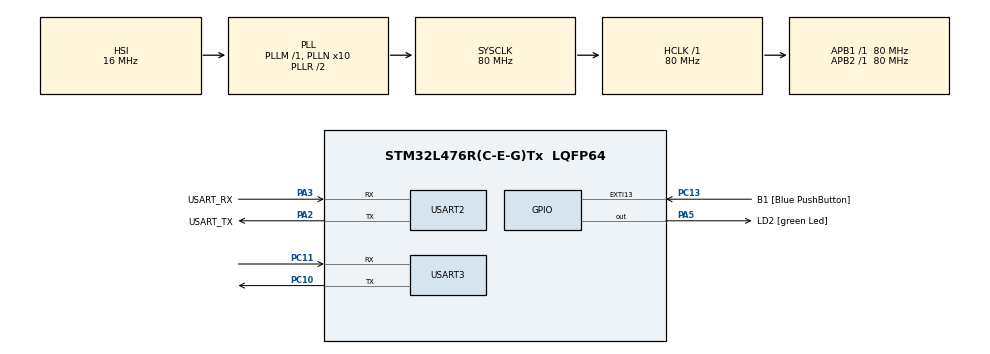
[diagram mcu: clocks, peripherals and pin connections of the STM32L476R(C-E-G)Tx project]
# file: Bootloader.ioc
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CRC.InputDataFormat=CRC_INPUTDATA_FORMAT_WORDS
Mcu.Family=STM32L4
Mcu.Name=STM32L476R(C-E-G)Tx
Mcu.Package=LQFP64
NVIC.PriorityGroup=NVIC_PRIORITYGROUP_4
PA13\ (JTMS-SWDIO).GPIO_Label=TMS
PA13\ (JTMS-SWDIO).Mode=Serial_Wire
PA13\ (JTMS-SWDIO).Signal=SYS_JTMS-SWDIO
PA14\ (JTCK-SWCLK).GPIO_Label=TCK
PA14\ (JTCK-SWCLK).Mode=Serial_Wire
PA14\ (JTCK-SWCLK).Signal=SYS_JTCK-SWCLK
PA2.GPIO_Label=USART_TX
PA2.GPIO_Mode=GPIO_MODE_AF_PP
PA2.GPIO_PuPd=GPIO_NOPULL
PA2.GPIO_Speed=GPIO_SPEED_FREQ_VERY_HIGH
PA2.Mode=Asynchronous
PA2.Signal=USART2_TX
PA3.GPIO_Label=USART_RX
PA3.GPIO_Mode=GPIO_MODE_AF_PP
PA3.GPIO_PuPd=GPIO_NOPULL
PA3.GPIO_Speed=GPIO_SPEED_FREQ_VERY_HIGH
PA3.Mode=Asynchronous
PA3.Signal=USART2_RX
PA5.GPIO_Label=LD2 [green Led]
PA5.GPIO_ModeDefaultOutputPP=GPIO_MODE_OUTPUT_PP
PA5.GPIO_PuPd=GPIO_NOPULL
PA5.GPIO_Speed=GPIO_SPEED_FREQ_LOW
PA5.Signal=GPIO_Output
PB3\ (JTDO-TRACESWO).GPIO_Label=SWO
PB3\ (JTDO-TRACESWO).Signal=SYS_JTDO-SWO
PC10.Mode=Asynchronous
PC10.Signal=USART3_TX
PC11.Mode=Asynchronous
PC11.Signal=USART3_RX
PC13.GPIO_Label=B1 [Blue PushButton]
PC13.GPIO_ModeDefaultEXTI=GPIO_MODE_IT_FALLING
PC13.GPIO_PuPd=GPIO_NOPULL
PC13.Signal=GPXTI13
PC14-OSC32_IN\ (PC14).Mode=LSE-External-Oscillator
PC14-OSC32_IN\ (PC14).Signal=RCC_OSC32_IN
PC15-OSC32_OUT\ (PC15).Mode=LSE-External-Oscillator
PC15-OSC32_OUT\ (PC15).Signal=RCC_OSC32_OUT
PH0-OSC_IN\ (PH0).Signal=RCC_OSC_IN
PH1-OSC_OUT\ (PH1).Signal=RCC_OSC_OUT
ProjectManager.HeapSize=0x200
ProjectManager.StackSize=0x400
ProjectManager.TargetToolchain=STM32CubeIDE
RCC.ADCFreq_Value=64000000
RCC.AHBFreq_Value=80000000
RCC.APB1Freq_Value=80000000
RCC.APB1TimFreq_Value=80000000
RCC.APB2Freq_Value=80000000
RCC.APB2TimFreq_Value=80000000
RCC.CortexFreq_Value=80000000
RCC.HCLKFreq_Value=80000000
RCC.HSE_VALUE=8000000
RCC.HSI_VALUE=16000000
RCC.MSI_VALUE=4000000
RCC.PLLN=10
RCC.PLLSourceVirtual=RCC_PLLSOURCE_HSI
RCC.PREFETCH_ENABLE=1
RCC.SYSCLKFreq_VALUE=80000000
RCC.SYSCLKSource=RCC_SYSCLKSOURCE_PLLCLK
RCC.USBFreq_Value=64000000
RCC.VCOOutputFreq_Value=160000000
USART2.VirtualMode-Asynchronous=VM_ASYNC
USART3.VirtualMode-Asynchronous=VM_ASYNC
VP_CRC_VS_CRC.Mode=CRC_Activate
board=NUCLEO-L476RG

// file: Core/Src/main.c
/* USER CODE BEGIN Header */
/**
  ******************************************************************************
  * @file           : main.c
  * @brief          : Main program body
  ******************************************************************************
  * @attention
  *
  * Copyright (c) 2024 STMicroelectronics.
  * All rights reserved.
  *
  * This software is licensed under terms that can be found in the LICENSE file
  * in the root directory of this software component.
  * If no LICENSE file comes with this software, it is provided AS-IS.
  *
  ******************************************************************************
  */
/* USER CODE END Header */
#include "main.h"

/* USER CODE BEGIN Includes */
#include <stdarg.h>
#include <string.h>
#include <stdint.h>
#include <stdio.h>

/* USER CODE END Includes */

/* USER CODE BEGIN PD */
//enable this line to get debug messages over debug uart
#define BL_DEBUG_MSG_EN

#define D_UART &huart3
#define C_UART &huart2

#define BL_RX_LEN 200

/* USER CODE END PD */

CRC_HandleTypeDef hcrc;

UART_HandleTypeDef huart2;
UART_HandleTypeDef huart3;

uint8_t supported_commands[] = {
                               BL_GET_VER ,
                               BL_GET_HELP,
                               BL_GET_CID,
                               BL_GET_RDP_STATUS,
                               BL_GO_TO_ADDR,
                               BL_FLASH_ERASE,
                               BL_MEM_WRITE,
                               BL_READ_SECTOR_P_STATUS} ;

void SystemClock_Config(void);
static void MX_GPIO_Init(void);
static void MX_USART2_UART_Init(void);
static void MX_CRC_Init(void);
static void MX_USART3_UART_Init(void);
void printmsg(char *format,...);

/* USER CODE BEGIN 0 */
char userdata[] = "Hello from Bootloader! \r\n";

uint8_t bl_rx_buffer[BL_RX_LEN];

/* USER CODE END 0 */

int main(void)
{

  /* MCU Configuration--------------------------------------------------------*/

  /* Reset of all peripherals, Initializes the Flash interface and the Systick. */
  HAL_Init();

  /* Configure the system clock */
  SystemClock_Config();

  /* Initialize all configured peripherals */
  MX_GPIO_Init();
  MX_USART2_UART_Init();
  MX_CRC_Init();
  MX_USART3_UART_Init();
  /* USER CODE BEGIN 2 */
  /* Lets check whether button is pressed or not, if not pressed jump to user application */
	if ( HAL_GPIO_ReadPin(B1_GPIO_Port,B1_Pin) == GPIO_PIN_RESET )
	{
	  printmsg("BL_DEBUG_MSG:Button is pressed .. going to BL mode\n\r");

	  //we should continue in bootloader mode
	  bootloader_uart_read_data();

	}
	else
	{
	  printmsg("BL_DEBUG_MSG:Button is not pressed .. executing user app\n");

		//jump to user application
		bootloader_jump_to_user_app();

	}

  /* USER CODE END 2 */

  /* Infinite loop */
  while (1)
  {

    /* USER CODE BEGIN 3 */
//	  HAL_UART_Transmit(&huart2, (uint8_t*) userdata, sizeof(userdata), HAL_MAX_DELAY);
//	  uint32_t current_tick = HAL_GetTick();
//	  while(HAL_GetTick() <= current_tick + 1000);

  }
  /* USER CODE END 3 */
}

void bootloader_uart_read_data(void)
{
	uint8_t rcv_len=0;

	while(1)
	{
		memset(bl_rx_buffer,0,200);
		//here we will read and decode the commands coming from host
		//first read only one byte from the host , which is the "length" field of the command packet
		HAL_UART_Receive(C_UART,bl_rx_buffer,1,HAL_MAX_DELAY);
		rcv_len= bl_rx_buffer[0];
		HAL_UART_Receive(C_UART,&bl_rx_buffer[1],rcv_len,HAL_MAX_DELAY);
		switch(bl_rx_buffer[1])
		{
			case BL_GET_VER:
				bootloader_handle_getver_cmd(bl_rx_buffer);
				break;
			case BL_GET_HELP:
				bootloader_handle_gethelp_cmd(bl_rx_buffer);
				break;
			case BL_GET_CID:
				bootloader_handle_getcid_cmd(bl_rx_buffer);
				break;
			case BL_GET_RDP_STATUS:
				bootloader_handle_getrdp_cmd(bl_rx_buffer);
				break;
			case BL_GO_TO_ADDR:
				bootloader_handle_go_cmd(bl_rx_buffer);
				break;
			case BL_FLASH_ERASE:
				bootloader_handle_flash_erase_cmd(bl_rx_buffer);
				break;
			case BL_MEM_WRITE:
				bootloader_handle_mem_write_cmd(bl_rx_buffer);
				break;
			case BL_EN_RW_PROTECT:
				bootloader_handle_en_rw_protect(bl_rx_buffer);
				break;
			case BL_MEM_READ:
				bootloader_handle_mem_read(bl_rx_buffer);
				break;
			case BL_READ_SECTOR_P_STATUS:
				bootloader_handle_read_sector_protection_status(bl_rx_buffer);
				break;
			case BL_OTP_READ:
				bootloader_handle_read_otp(bl_rx_buffer);
				break;
			 default:
				printmsg("BL_DEBUG_MSG:Invalid command code received from host \n");
				break;
		}
	}
}

/*code to jump to user application
 *Here we are assuming FLASH_SECTOR2_BASE_ADDRESS
 *is where the user application is stored
 */
void bootloader_jump_to_user_app(void)
{
	  //just a function pointer to hold the address of the reset handler of the user app.
	    void (*app_reset_handler)(void);

	    printmsg("BL_DEBUG_MSG:bootloader_jump_to_user_app\n");

	    // 1. configure the MSP by reading the value from the base address of the sector 2
	    uint32_t msp_value = *(volatile uint32_t *)FLASH_SECTOR2_BASE_ADDRESS;
	    printmsg("BL_DEBUG_MSG:MSP value : %#x\n",msp_value);

	    //This function comes from CMSIS.
	    __set_MSP(msp_value);

	    //SCB->VTOR = FLASH_SECTOR1_BASE_ADDRESS;

	    /* 2. Now fetch the reset handler address of the user application
	     * from the location FLASH_SECTOR2_BASE_ADDRESS+4
	     */
	    uint32_t resethandler_address = *(volatile uint32_t *) (FLASH_SECTOR2_BASE_ADDRESS + 4);

	    app_reset_handler = (void*) resethandler_address;

	    printmsg("BL_DEBUG_MSG: app reset handler addr : %#x\n",app_reset_handler);

	    //3. jump to reset handler of the user application
	    app_reset_handler();
}

/* prints formatted string to console over UART */
void printmsg(char *format,...)
{
#ifdef BL_DEBUG_MSG_EN
	char str[80];

	/*Extract the the argument list using VA apis */
	va_list args;
	va_start(args, format);
	vsprintf(str, format,args);
	HAL_UART_Transmit(D_UART,(uint8_t *)str, strlen(str),HAL_MAX_DELAY);
	va_end(args);
#endif
}

void SystemClock_Config(void)
{
  RCC_OscInitTypeDef RCC_OscInitStruct = {0};
  RCC_ClkInitTypeDef RCC_ClkInitStruct = {0};

  /** Configure the main internal regulator output voltage
  */
  if (HAL_PWREx_ControlVoltageScaling(PWR_REGULATOR_VOLTAGE_SCALE1) != HAL_OK)
  {
    Error_Handler();
  }

  /** Initializes the RCC Oscillators according to the specified parameters
  * in the RCC_OscInitTypeDef structure.
  */
  RCC_OscInitStruct.OscillatorType = RCC_OSCILLATORTYPE_HSI;
  RCC_OscInitStruct.HSIState = RCC_HSI_ON;
  RCC_OscInitStruct.HSICalibrationValue = RCC_HSICALIBRATION_DEFAULT;
  RCC_OscInitStruct.PLL.PLLState = RCC_PLL_ON;
  RCC_OscInitStruct.PLL.PLLSource = RCC_PLLSOURCE_HSI;
  RCC_OscInitStruct.PLL.PLLM = 1;
  RCC_OscInitStruct.PLL.PLLN = 10;
  RCC_OscInitStruct.PLL.PLLP = RCC_PLLP_DIV7;
  RCC_OscInitStruct.PLL.PLLQ = RCC_PLLQ_DIV2;
  RCC_OscInitStruct.PLL.PLLR = RCC_PLLR_DIV2;
  if (HAL_RCC_OscConfig(&RCC_OscInitStruct) != HAL_OK)
  {
    Error_Handler();
  }

  /** Initializes the CPU, AHB and APB buses clocks
  */
  RCC_ClkInitStruct.ClockType = RCC_CLOCKTYPE_HCLK|RCC_CLOCKTYPE_SYSCLK
                              |RCC_CLOCKTYPE_PCLK1|RCC_CLOCKTYPE_PCLK2;
  RCC_ClkInitStruct.SYSCLKSource = RCC_SYSCLKSOURCE_PLLCLK;
  RCC_ClkInitStruct.AHBCLKDivider = RCC_SYSCLK_DIV1;
  RCC_ClkInitStruct.APB1CLKDivider = RCC_HCLK_DIV1;
  RCC_ClkInitStruct.APB2CLKDivider = RCC_HCLK_DIV1;

  if (HAL_RCC_ClockConfig(&RCC_ClkInitStruct, FLASH_LATENCY_4) != HAL_OK)
  {
    Error_Handler();
  }
}

static void MX_CRC_Init(void)
{

  hcrc.Instance = CRC;
  hcrc.Init.DefaultPolynomialUse = DEFAULT_POLYNOMIAL_ENABLE;
  hcrc.Init.DefaultInitValueUse = DEFAULT_INIT_VALUE_ENABLE;
  hcrc.Init.InputDataInversionMode = CRC_INPUTDATA_INVERSION_NONE;
  hcrc.Init.OutputDataInversionMode = CRC_OUTPUTDATA_INVERSION_DISABLE;
  hcrc.InputDataFormat = CRC_INPUTDATA_FORMAT_BYTES;
  if (HAL_CRC_Init(&hcrc) != HAL_OK)
  {
    Error_Handler();
  }

}

static void MX_USART2_UART_Init(void)
{

  huart2.Instance = USART2;
  huart2.Init.BaudRate = 115200;
  huart2.Init.WordLength = UART_WORDLENGTH_8B;
  huart2.Init.StopBits = UART_STOPBITS_1;
  huart2.Init.Parity = UART_PARITY_NONE;
  huart2.Init.Mode = UART_MODE_TX_RX;
  huart2.Init.HwFlowCtl = UART_HWCONTROL_NONE;
  huart2.Init.OverSampling = UART_OVERSAMPLING_16;
  huart2.Init.OneBitSampling = UART_ONE_BIT_SAMPLE_DISABLE;
  huart2.AdvancedInit.AdvFeatureInit = UART_ADVFEATURE_NO_INIT;
  if (HAL_UART_Init(&huart2) != HAL_OK)
  {
    Error_Handler();
  }

}

static void MX_USART3_UART_Init(void)
{

  huart3.Instance = USART3;
  huart3.Init.BaudRate = 115200;
  huart3.Init.WordLength = UART_WORDLENGTH_8B;
  huart3.Init.StopBits = UART_STOPBITS_1;
  huart3.Init.Parity = UART_PARITY_NONE;
  huart3.Init.Mode = UART_MODE_TX_RX;
  huart3.Init.HwFlowCtl = UART_HWCONTROL_NONE;
  huart3.Init.OverSampling = UART_OVERSAMPLING_16;
  huart3.Init.OneBitSampling = UART_ONE_BIT_SAMPLE_DISABLE;
  huart3.AdvancedInit.AdvFeatureInit = UART_ADVFEATURE_NO_INIT;
  if (HAL_UART_Init(&huart3) != HAL_OK)
  {
    Error_Handler();
  }

}

static void MX_GPIO_Init(void)
{
  GPIO_InitTypeDef GPIO_InitStruct = {0};

  /* GPIO Ports Clock Enable */
  __HAL_RCC_GPIOC_CLK_ENABLE();
  __HAL_RCC_GPIOH_CLK_ENABLE();
  __HAL_RCC_GPIOA_CLK_ENABLE();
  __HAL_RCC_GPIOB_CLK_ENABLE();

  /*Configure GPIO pin Output Level */
  HAL_GPIO_WritePin(LD2_GPIO_Port, LD2_Pin, GPIO_PIN_RESET);

  /*Configure GPIO pin : B1_Pin */
  GPIO_InitStruct.Pin = B1_Pin;
  GPIO_InitStruct.Mode = GPIO_MODE_IT_FALLING;
  GPIO_InitStruct.Pull = GPIO_NOPULL;
  HAL_GPIO_Init(B1_GPIO_Port, &GPIO_InitStruct);

  /*Configure GPIO pin : LD2_Pin */
  GPIO_InitStruct.Pin = LD2_Pin;
  GPIO_InitStruct.Mode = GPIO_MODE_OUTPUT_PP;
  GPIO_InitStruct.Pull = GPIO_NOPULL;
  GPIO_InitStruct.Speed = GPIO_SPEED_FREQ_LOW;
  HAL_GPIO_Init(LD2_GPIO_Port, &GPIO_InitStruct);

}

void Error_Handler(void)
{
  __disable_irq();
  while (1)
  {
  }
}

/**************Implementation of Boot-loader Command Handle functions *********/

/*Helper function to handle BL_GET_VER command */
void bootloader_handle_getver_cmd(uint8_t *bl_rx_buffer)
{
	   uint8_t bl_version;

	    // 1) verify the checksum
	      printmsg("BL_DEBUG_MSG:bootloader_handle_getver_cmd\n");

		 //Total length of the command packet
		  uint32_t command_packet_len = bl_rx_buffer[0]+1 ;

		  //extract the CRC32 sent by the Host
		  uint32_t host_crc = *((uint32_t * ) (bl_rx_buffer+command_packet_len - 4) ) ;

	    if (! bootloader_verify_crc(&bl_rx_buffer[0],command_packet_len-4,host_crc))
	    {
	        printmsg("BL_DEBUG_MSG:checksum success !!\n");
	        // checksum is correct..
	        bootloader_send_ack(bl_rx_buffer[0],1);
	        bl_version=get_bootloader_version();
	        printmsg("BL_DEBUG_MSG:BL_VER : %d %#x\n",bl_version,bl_version);
	        bootloader_uart_write_data(&bl_version,1);

	    }else
	    {
	        printmsg("BL_DEBUG_MSG:checksum fail !!\n");
	        //checksum is wrong send nack
	        bootloader_send_nack();
	    }

}

/*Helper function to handle BL_GET_HELP command
 * Bootloader sends out All supported Command codes
 */
void bootloader_handle_gethelp_cmd(uint8_t *pBuffer)
{
	printmsg("BL_DEBUG_MSG:bootloader_handle_gethelp_cmd\n");

	//Total length of the command packet
	uint32_t command_packet_len = bl_rx_buffer[0]+1 ;

	//extract the CRC32 sent by the Host
	uint32_t host_crc = *((uint32_t * ) (bl_rx_buffer+command_packet_len - 4) ) ;

	if (! bootloader_verify_crc(&bl_rx_buffer[0],command_packet_len-4,host_crc))
	{
		printmsg("BL_DEBUG_MSG:checksum success !!\n");
		bootloader_send_ack(pBuffer[0],sizeof(supported_commands));
		bootloader_uart_write_data(supported_commands,sizeof(supported_commands) );

	}else
	{
		printmsg("BL_DEBUG_MSG:checksum fail !!\n");
		bootloader_send_nack();
	}
}

/*Helper function to handle BL_GET_CID command */
void bootloader_handle_getcid_cmd(uint8_t *pBuffer)
{
	uint16_t bl_cid_num = 0;
	printmsg("BL_DEBUG_MSG:bootloader_handle_getcid_cmd\n");

	//Total length of the command packet
	uint32_t command_packet_len = bl_rx_buffer[0]+1 ;

	//extract the CRC32 sent by the Host
	uint32_t host_crc = *((uint32_t * ) (bl_rx_buffer+command_packet_len - 4) ) ;

	if (! bootloader_verify_crc(&bl_rx_buffer[0],command_packet_len-4,host_crc))
	{
		printmsg("BL_DEBUG_MSG:checksum success !!\n");
		bootloader_send_ack(pBuffer[0],2);
		bl_cid_num = get_mcu_chip_id();
		printmsg("BL_DEBUG_MSG:MCU id : %d %#x !!\n",bl_cid_num, bl_cid_num);
		bootloader_uart_write_data((uint8_t *)&bl_cid_num,2);

	}else
	{
		printmsg("BL_DEBUG_MSG:checksum fail !!\n");
		bootloader_send_nack();
	}

}

/*Helper function to handle BL_GET_RDP_STATUS command */
void bootloader_handle_getrdp_cmd(uint8_t *pBuffer)
{
    uint8_t rdp_level = 0x00;
    printmsg("BL_DEBUG_MSG:bootloader_handle_getrdp_cmd\n");

    //Total length of the command packet
	uint32_t command_packet_len = bl_rx_buffer[0]+1 ;

	//extract the CRC32 sent by the Host
	uint32_t host_crc = *((uint32_t * ) (bl_rx_buffer+command_packet_len - 4) ) ;

	if (! bootloader_verify_crc(&bl_rx_buffer[0],command_packet_len-4,host_crc))
	{
        printmsg("BL_DEBUG_MSG:checksum success !!\n");
        bootloader_send_ack(pBuffer[0],1);
        rdp_level = get_flash_rdp_level();
        printmsg("BL_DEBUG_MSG:RDP level: %d %#x\n",rdp_level,rdp_level);
        bootloader_uart_write_data(&rdp_level,1);

	}else
	{
        printmsg("BL_DEBUG_MSG:checksum fail !!\n");
        bootloader_send_nack();
	}
}

/*Helper function to handle BL_GO_TO_ADDR command */
void bootloader_handle_go_cmd(uint8_t *pBuffer)
{
	uint32_t go_address=0;
	uint8_t addr_valid = ADDR_VALID;
	uint8_t addr_invalid = ADDR_INVALID;

	printmsg("BL_DEBUG_MSG:bootloader_handle_go_cmd\n");

	//Total length of the command packet
	uint32_t command_packet_len = bl_rx_buffer[0]+1 ;

	//extract the CRC32 sent by the Host
	uint32_t host_crc = *((uint32_t * ) (bl_rx_buffer+command_packet_len - 4) ) ;

	if (! bootloader_verify_crc(&bl_rx_buffer[0],command_packet_len-4,host_crc))
	{
		printmsg("BL_DEBUG_MSG:checksum success !!\n");

		bootloader_send_ack(pBuffer[0],1);

		//extract the go address
		go_address = *((uint32_t *)&pBuffer[2] );
		printmsg("BL_DEBUG_MSG:GO addr: %#x\n",go_address);

		if( verify_address(go_address) == ADDR_VALID )
		{
			//tell host that address is fine
			bootloader_uart_write_data(&addr_valid,1);

			/*jump to "go" address.
			we dont care what is being done there.
			host must ensure that valid code is present over there
			Its not the duty of bootloader. so just trust and jump */

			/* Not doing the below line will result in hardfault exception for ARM cortex M */
			//watch : https://www.youtube.com/watch?v=VX_12SjnNhY

			go_address+=1; //make T bit =1

			void (*lets_jump)(void) = (void *)go_address;

			printmsg("BL_DEBUG_MSG: jumping to go address! \n");

			lets_jump();

		}else
		{
			printmsg("BL_DEBUG_MSG:GO addr invalid ! \n");
			//tell host that address is invalid
			bootloader_uart_write_data(&addr_invalid,1);
		}

	}else
	{
		printmsg("BL_DEBUG_MSG:checksum fail !!\n");
		bootloader_send_nack();
	}

}

/*Helper function to handle BL_FLASH_ERASE command */
void bootloader_handle_flash_erase_cmd(uint8_t *pBuffer)
{
    uint8_t erase_status = 0x00;
    printmsg("BL_DEBUG_MSG:bootloader_handle_flash_erase_cmd\n");

    //Total length of the command packet
	uint32_t command_packet_len = bl_rx_buffer[0]+1 ;

	//extract the CRC32 sent by the Host
	uint32_t host_crc = *((uint32_t * ) (bl_rx_buffer+command_packet_len - 4) ) ;

	if (! bootloader_verify_crc(&bl_rx_buffer[0],command_packet_len-4,host_crc))
	{
        printmsg("BL_DEBUG_MSG:checksum success !!\n");
        bootloader_send_ack(pBuffer[0],1);
        printmsg("BL_DEBUG_MSG:initial_sector : %d  no_ofsectors: %d\n",pBuffer[2],pBuffer[3]);

        HAL_GPIO_WritePin(LD2_GPIO_Port, LD2_Pin,1);
        erase_status = execute_flash_erase(pBuffer[2] , pBuffer[3]);
        HAL_GPIO_WritePin(LD2_GPIO_Port, LD2_Pin,0);

        printmsg("BL_DEBUG_MSG: flash erase status: %#x\n",erase_status);

        bootloader_uart_write_data(&erase_status,1);

	}else
	{
        printmsg("BL_DEBUG_MSG:checksum fail !!\n");
        bootloader_send_nack();
	}
}

/*Helper function to handle BL_MEM_WRITE command */
void bootloader_handle_mem_write_cmd(uint8_t *pBuffer)
{
	uint8_t addr_valid = ADDR_VALID;
	uint8_t write_status = 0x00;
	uint8_t chksum =0, len=0;
	len = pBuffer[0];
	uint8_t payload_len = pBuffer[6];

	uint32_t mem_address = *((uint32_t *) ( &pBuffer[2]) );

	chksum = pBuffer[len];

    printmsg("BL_DEBUG_MSG:bootloader_handle_mem_write_cmd\n");

    //Total length of the command packet
	uint32_t command_packet_len = bl_rx_buffer[0]+1 ;

	//extract the CRC32 sent by the Host
	uint32_t host_crc = *((uint32_t * ) (bl_rx_buffer+command_packet_len - 4) ) ;

	if (! bootloader_verify_crc(&bl_rx_buffer[0],command_packet_len-4,host_crc))
	{
        printmsg("BL_DEBUG_MSG:checksum success !!\n");

        bootloader_send_ack(pBuffer[0],1);

        printmsg("BL_DEBUG_MSG: mem write address : %#x\n",mem_address);

		if( verify_address(mem_address) == ADDR_VALID )
		{

            printmsg("BL_DEBUG_MSG: valid mem write address\n");

            //glow the led to indicate bootloader is currently writing to memory
            HAL_GPIO_WritePin(LD2_GPIO_Port, LD2_Pin, GPIO_PIN_SET);

            //execute mem write
            write_status = execute_mem_write(&pBuffer[7],mem_address, payload_len);

            //turn off the led to indicate memory write is over
            HAL_GPIO_WritePin(LD2_GPIO_Port, LD2_Pin, GPIO_PIN_RESET);

            //inform host about the status
            bootloader_uart_write_data(&write_status,1);

		}else
		{
            printmsg("BL_DEBUG_MSG: invalid mem write address\n");
            write_status = ADDR_INVALID;
            //inform host that address is invalid
            bootloader_uart_write_data(&write_status,1);
		}

	}else
	{
        printmsg("BL_DEBUG_MSG:checksum fail !!\n");
        bootloader_send_nack();
	}

}

/*Helper function to handle BL_EN_RW_PROTECT  command */
void bootloader_handle_en_rw_protect(uint8_t *pBuffer)
{

}

/*Helper function to handle BL_EN_RW_PROTECT  command */
void bootloader_handle_dis_rw_protect(uint8_t *pBuffer)
{

}

/*Helper function to handle BL_MEM_READ command */
void bootloader_handle_mem_read (uint8_t *pBuffer)
{

}

/*Helper function to handle _BL_READ_SECTOR_P_STATUS command */
void bootloader_handle_read_sector_protection_status(uint8_t *pBuffer)
{

}

/*Helper function to handle BL_OTP_READ command */
void bootloader_handle_read_otp(uint8_t *pBuffer)
{

}

/*This function sends ACK if CRC matches along with "len to follow"*/
void bootloader_send_ack(uint8_t command_code, uint8_t follow_len)
{
	 //here we send 2 byte.. first byte is ack and the second byte is len value
	uint8_t ack_buf[2];
	ack_buf[0] = BL_ACK;
	ack_buf[1] = follow_len;
	HAL_UART_Transmit(C_UART,ack_buf,2,HAL_MAX_DELAY);

}

/*This function sends NACK */
void bootloader_send_nack(void)
{
	uint8_t nack = BL_NACK;
	HAL_UART_Transmit(C_UART,&nack,1,HAL_MAX_DELAY);
}

//This verifies the CRC of the given buffer in pData .
uint8_t bootloader_verify_crc (uint8_t *pData, uint32_t len, uint32_t crc_host)
{
    uint32_t uwCRCValue=0xff;

    for (uint32_t i=0 ; i < len ; i++)
	{
        uint32_t i_data = pData[i];
        uwCRCValue = HAL_CRC_Accumulate(&hcrc, &i_data, 1);
	}

    /* Reset CRC Calculation Unit */
     __HAL_CRC_DR_RESET(&hcrc);

	if( uwCRCValue == crc_host)
	{
		return VERIFY_CRC_SUCCESS;
	}

	return VERIFY_CRC_FAIL;
}

/* This function writes data in to C_UART */
void bootloader_uart_write_data(uint8_t *pBuffer,uint32_t len)
{
    /*you can replace the below ST's USART driver API call with your MCUs driver API call */
	HAL_UART_Transmit(C_UART,pBuffer,len,HAL_MAX_DELAY);

}

//Just returns the macro value .
uint8_t get_bootloader_version(void)
{
  return (uint8_t)BL_VERSION;
}

//Read the chip identifier or device Identifier
uint16_t get_mcu_chip_id(void)
{
/*
	The STM32F446xx MCUs integrate an MCU ID code. This ID identifies the ST MCU partnumber
	and the die revision. It is part of the DBG_MCU component and is mapped on the
	external PPB bus (see Section 33.16 on page 1304). This code is accessible using the
	JTAG debug pCat.2ort (4 to 5 pins) or the SW debug port (two pins) or by the user software.
	It is even accessible while the MCU is under system reset. */
	uint16_t cid;
	cid = (uint16_t)(DBGMCU->IDCODE) & 0x0FFF;
	return  cid;

}

/*This function reads the RDP ( Read protection option byte) value
 *For more info refer "Table 9. Description of the option bytes" in stm32f446xx RM
 */
uint8_t get_flash_rdp_level(void)
{

	uint8_t rdp_status=0;
#if 0
	FLASH_OBProgramInitTypeDef  ob_handle;
	HAL_FLASHEx_OBGetConfig(&ob_handle);
	rdp_status = (uint8_t)ob_handle.RDPLevel;
#else

	 volatile uint32_t *pOB_addr = (uint32_t*) 0x1FFF7800;
	 rdp_status =  (uint8_t)(*pOB_addr) ;
#endif

	return rdp_status;

}

//verify the address sent by the host .
uint8_t verify_address(uint32_t go_address)
{
	//so, what are the valid addresses to which we can jump ?
	//can we jump to system memory ? yes
	//can we jump to sram1 memory ?  yes
	//can we jump to sram2 memory ? yes
	//can we jump to backup sram memory ? yes
	//can we jump to peripheral memory ? its possible , but dont allow. so no
	//can we jump to external memory ? yes.

//incomplete -poorly written .. optimize it
	if ( go_address >= SRAM1_BASE && go_address <= SRAM1_END)
	{
		return ADDR_VALID;
	}
	else if ( go_address >= SRAM2_BASE && go_address <= SRAM2_END)
	{
		return ADDR_VALID;
	}
	else if ( go_address >= FLASH_BASE && go_address <= FLASH_END)
	{
		return ADDR_VALID;
	}
//	else if ( go_address >= BKPSRAM_BASE && go_address <= BKPSRAM_END)
//	{
//		return ADDR_VALID;
//	}
	else
		return ADDR_INVALID;
}

uint8_t execute_flash_erase(uint8_t sector_number , uint8_t number_of_sector)
{
//   //we have totally 8 sectors in STM32F446RE mcu .. sector[0 to 7]
//	//number_of_sector has to be in the range of 0 to 7
//	// if sector_number = 0xff , that means mass erase !
//	//Code needs to modified if your MCU supports more flash sectors
//	FLASH_EraseInitTypeDef flashErase_handle;
//	uint32_t sectorError;
//	HAL_StatusTypeDef status;
//
//
//	if( number_of_sector > 8 )
//		return INVALID_SECTOR;
//
//	if( (sector_number == 0xff ) || (sector_number <= 7) )
//	{
//		if(sector_number == (uint8_t) 0xff)
//		{
//			flashErase_handle.TypeErase = FLASH_TYPEERASE_MASSERASE;
//		}else
//		{
//		    /*Here we are just calculating how many sectors needs to erased */
//			uint8_t remanining_sector = 8 - sector_number;
//           if( number_of_sector > remanining_sector)
//           {
//           	number_of_sector = remanining_sector;
//           }
//			flashErase_handle.TypeErase = FLASH_TYPEERASE_SECTORS;
//			flashErase_handle.Sector = sector_number; // this is the initial sector
//			flashErase_handle.NbSectors = number_of_sector;
//		}
//		flashErase_handle.Banks = FLASH_BANK_1;
//
//		/*Get access to touch the flash registers */
//		HAL_FLASH_Unlock();
//		flashErase_handle.VoltageRange = FLASH_VOLTAGE_RANGE_3;  // our mcu will work on this voltage range
//		status = (uint8_t) HAL_FLASHEx_Erase(&flashErase_handle, &sectorError);
//		HAL_FLASH_Lock();
//
//		return status;
//	}
//
//
//	return INVALID_SECTOR;
}

/*This function writes the contents of pBuffer to  "mem_address" byte by byte */
//Note1 : Currently this function supports writing to Flash only .
//Note2 : This functions does not check whether "mem_address" is a valid address of the flash range.
uint8_t execute_mem_write(uint8_t *pBuffer, uint32_t mem_address, uint32_t  )
{
    uint8_t status=HAL_OK;

    //We have to unlock flash module to get control of registers
    HAL_FLASH_Unlock();

    for(uint32_t i = 0 ; i <len ; i++)
    {
        //Here we program the flash byte by byte
        status = HAL_FLASH_Program(FLASH_TYPEPROGRAM_BYTE,mem_address+i,pBuffer[i] );
    }

    HAL_FLASH_Lock();

    return status;
}
